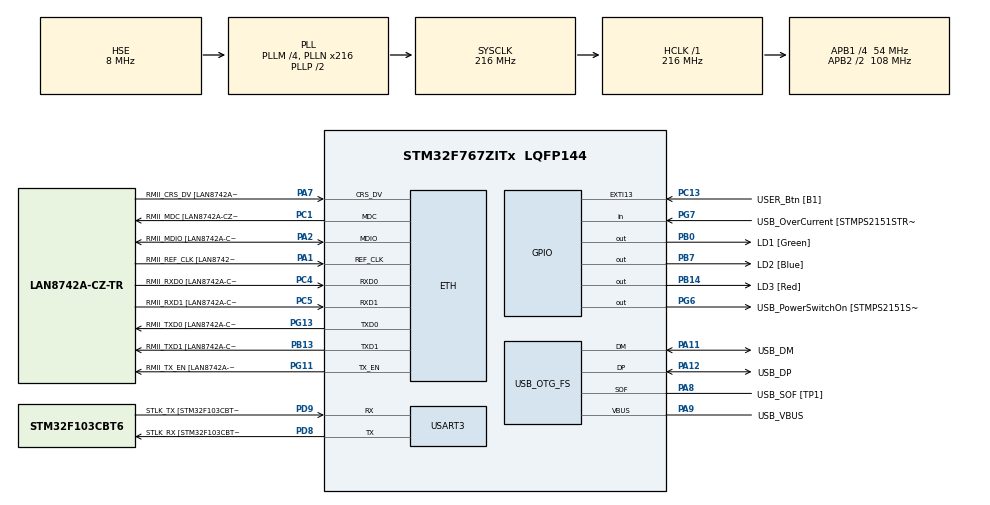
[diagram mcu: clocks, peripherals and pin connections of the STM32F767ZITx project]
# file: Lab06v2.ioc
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ETH.MediaInterface=HAL_ETH_RMII_MODE
ETH.PHY_Name=LAN8742A_PHY_ADDRESS
ETH.PHY_Value=0
ETH.PhyAddress=0
Mcu.Family=STM32F7
Mcu.Name=STM32F767ZITx
Mcu.Package=LQFP144
NVIC.PriorityGroup=NVIC_PRIORITYGROUP_4
NVIC.TIM1_UP_TIM10_IRQn=true\:1\:0\:true\:false\:true\:true\:true\:true
NVIC.TIM2_IRQn=true\:2\:0\:true\:false\:true\:true\:true\:true
PA1.GPIO_Label=RMII_REF_CLK [LAN8742A-CZ-TR_REFCLK0]
PA1.Mode=RMII
PA1.Signal=ETH_REF_CLK
PA10.GPIO_Label=USB_ID
PA10.Signal=USB_OTG_FS_ID
PA11.GPIO_Label=USB_DM
PA11.Mode=Device_Only
PA11.Signal=USB_OTG_FS_DM
PA12.GPIO_Label=USB_DP
PA12.Mode=Device_Only
PA12.Signal=USB_OTG_FS_DP
PA13.GPIO_Label=TMS
PA13.Mode=Serial_Wire
PA13.Signal=SYS_JTMS-SWDIO
PA14.GPIO_Label=TCK
PA14.Mode=Serial_Wire
PA14.Signal=SYS_JTCK-SWCLK
PA2.GPIO_Label=RMII_MDIO [LAN8742A-CZ-TR_MDIO]
PA2.Mode=RMII
PA2.Signal=ETH_MDIO
PA7.GPIO_Label=RMII_CRS_DV [LAN8742A-CZ-TR_CRS_DV]
PA7.Mode=RMII
PA7.Signal=ETH_CRS_DV
PA8.GPIO_Label=USB_SOF [TP1]
PA8.Mode=Activate_SOF_FS
PA8.Signal=USB_OTG_FS_SOF
PA9.GPIO_Label=USB_VBUS
PA9.Mode=Activate_VBUS
PA9.Signal=USB_OTG_FS_VBUS
PB0.GPIO_Label=LD1 [Green]
PB0.Signal=GPIO_Output
PB13.GPIO_Label=RMII_TXD1 [LAN8742A-CZ-TR_TXD1]
PB13.Mode=RMII
PB13.Signal=ETH_TXD1
PB14.GPIO_Label=LD3 [Red]
PB14.Signal=GPIO_Output
PB3.GPIO_Label=SWO
PB3.Signal=SYS_JTDO-SWO
PB7.GPIO_Label=LD2 [Blue]
PB7.Signal=GPIO_Output
PC1.GPIO_Label=RMII_MDC [LAN8742A-CZ-TR_MDC]
PC1.Mode=RMII
PC1.Signal=ETH_MDC
PC13.GPIO_Label=USER_Btn [B1]
PC13.Signal=GPXTI13
PC14/OSC32_IN.Mode=LSE-External-Oscillator
PC14/OSC32_IN.Signal=RCC_OSC32_IN
PC15/OSC32_OUT.Mode=LSE-External-Oscillator
PC15/OSC32_OUT.Signal=RCC_OSC32_OUT
PC4.GPIO_Label=RMII_RXD0 [LAN8742A-CZ-TR_RXD0]
PC4.Mode=RMII
PC4.Signal=ETH_RXD0
PC5.GPIO_Label=RMII_RXD1 [LAN8742A-CZ-TR_RXD1]
PC5.Mode=RMII
PC5.Signal=ETH_RXD1
PD8.GPIO_Label=STLK_RX [STM32F103CBT6_PA3]
PD8.Mode=Asynchronous
PD8.Signal=USART3_TX
PD9.GPIO_Label=STLK_TX [STM32F103CBT6_PA2]
PD9.Mode=Asynchronous
PD9.Signal=USART3_RX
PG11.GPIO_Label=RMII_TX_EN [LAN8742A-CZ-TR_TXEN]
PG11.Mode=RMII
PG11.Signal=ETH_TX_EN
PG13.GPIO_Label=RMII_TXD0 [LAN8742A-CZ-TR_TXD0]
PG13.Mode=RMII
PG13.Signal=ETH_TXD0
PG6.GPIO_Label=USB_PowerSwitchOn [STMPS2151STR_EN]
PG6.Signal=GPIO_Output
PG7.GPIO_Label=USB_OverCurrent [STMPS2151STR_FAULT]
PG7.Signal=GPIO_Input
PH0/OSC_IN.GPIO_Label=MCO [STM32F103CBT6_PA8]
PH0/OSC_IN.Mode=HSE-External-Clock-Source
PH0/OSC_IN.Signal=RCC_OSC_IN
PH1/OSC_OUT.Mode=HSE-External-Clock-Source
PH1/OSC_OUT.Signal=RCC_OSC_OUT
ProjectManager.HeapSize=0x200
ProjectManager.StackSize=0x400
ProjectManager.TargetToolchain=STM32CubeIDE
RCC.48MHZClocksFreq_Value=24000000
RCC.AHBFreq_Value=216000000
RCC.APB1CLKDivider=RCC_HCLK_DIV4
RCC.APB1Freq_Value=54000000
RCC.APB1TimFreq_Value=108000000
RCC.APB2CLKDivider=RCC_HCLK_DIV2
RCC.APB2Freq_Value=108000000
RCC.APB2TimFreq_Value=216000000
RCC.CortexFreq_Value=216000000
RCC.HCLKFreq_Value=216000000
RCC.HSE_VALUE=8000000
RCC.HSI_VALUE=16000000
RCC.PLLM=4
RCC.PLLMUL=RCC_PLL_MUL9
RCC.PLLN=216
RCC.PLLQ=9
RCC.PRESCALERUSB=RCC_USBCLKSOURCE_PLL_DIV1_5
RCC.SYSCLKFreq_VALUE=216000000
RCC.SYSCLKSource=RCC_SYSCLKSOURCE_PLLCLK
RCC.SYSCLKSourceVirtual=RCC_SYSCLKSOURCE_PLLCLK
RCC.USBFreq_Value=48000000
RCC.VCOOutputFreq_Value=432000000
TIM1.Period=1000-1
TIM1.Prescaler=216-1
TIM2.Period=1000-1
TIM2.Prescaler=43200-1
USART3.VirtualMode-Asynchronous=VM_ASYNC
USB_OTG_FS.VirtualMode=Device_Only
VP_TIM1_VS_ClockSourceINT.Mode=Internal
VP_TIM2_VS_ClockSourceINT.Mode=Internal
board=NUCLEO-F767ZI

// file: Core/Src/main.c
/* USER CODE BEGIN Header */
/**
  ******************************************************************************
  * @file           : main.c
  * @brief          : Main program body
  ******************************************************************************
  * @attention
  *
  * Copyright (c) 2023 STMicroelectronics.
  * All rights reserved.
  *
  * This software is licensed under terms that can be found in the LICENSE file
  * in the root directory of this software component.
  * If no LICENSE file comes with this software, it is provided AS-IS.
  *
  ******************************************************************************
  */
/* USER CODE END Header */
#include "main.h"
#include "eth.h"
#include "tim.h"
#include "usart.h"
#include "usb_otg.h"
#include "gpio.h"

/* USER CODE BEGIN PTD */
uint32_t count;
uint32_t counts;

char clockDisplay[10];
uint32_t totalSeconds;
uint32_t minutes;
uint32_t seconds;
char deci[10];

void clock(uint32_t count) {
	totalSeconds = count / 1000;
	minutes = totalSeconds / 60;
	seconds = totalSeconds % 60;

	sprintf(clockDisplay, "%02d:%02d", minutes, seconds);

	while(__HAL_UART_GET_FLAG(&huart3,UART_FLAG_TC)==RESET){}
	HAL_UART_Transmit(&huart3,(uint8_t*) clockDisplay, strlen(clockDisplay),1000);
	HAL_UART_Transmit(&huart3,(uint8_t*)"\r", 1,1000);

}

/* USER CODE END PTD */

void SystemClock_Config(void);

int main(void)
{

  /* MCU Configuration--------------------------------------------------------*/

  /* Reset of all peripherals, Initializes the Flash interface and the Systick. */
  HAL_Init();

  /* Configure the system clock */
  SystemClock_Config();

  /* Initialize all configured peripherals */
  MX_GPIO_Init();
  MX_ETH_Init();
  MX_USART3_UART_Init();
  MX_USB_OTG_FS_PCD_Init();
  MX_TIM1_Init();
  MX_TIM2_Init();

  /* Infinite loop */
  /* USER CODE BEGIN WHILE */
	HAL_TIM_Base_Start_IT(&htim1);
	HAL_TIM_Base_Start_IT(&htim2);
  while (1)
  {
    /* USER CODE END WHILE */

  }
}

void SystemClock_Config(void)
{
  RCC_OscInitTypeDef RCC_OscInitStruct = {0};
  RCC_ClkInitTypeDef RCC_ClkInitStruct = {0};

  /** Configure LSE Drive Capability
  */
  HAL_PWR_EnableBkUpAccess();

  /** Configure the main internal regulator output voltage
  */
  __HAL_RCC_PWR_CLK_ENABLE();
  __HAL_PWR_VOLTAGESCALING_CONFIG(PWR_REGULATOR_VOLTAGE_SCALE1);

  /** Initializes the RCC Oscillators according to the specified parameters
  * in the RCC_OscInitTypeDef structure.
  */
  RCC_OscInitStruct.OscillatorType = RCC_OSCILLATORTYPE_HSE;
  RCC_OscInitStruct.HSEState = RCC_HSE_BYPASS;
  RCC_OscInitStruct.PLL.PLLState = RCC_PLL_ON;
  RCC_OscInitStruct.PLL.PLLSource = RCC_PLLSOURCE_HSE;
  RCC_OscInitStruct.PLL.PLLM = 4;
  RCC_OscInitStruct.PLL.PLLN = 216;
  RCC_OscInitStruct.PLL.PLLP = RCC_PLLP_DIV2;
  RCC_OscInitStruct.PLL.PLLQ = 9;
  RCC_OscInitStruct.PLL.PLLR = 2;
  if (HAL_RCC_OscConfig(&RCC_OscInitStruct) != HAL_OK)
  {
    Error_Handler();
  }

  /** Activate the Over-Drive mode
  */
  if (HAL_PWREx_EnableOverDrive() != HAL_OK)
  {
    Error_Handler();
  }

  /** Initializes the CPU, AHB and APB buses clocks
  */
  RCC_ClkInitStruct.ClockType = RCC_CLOCKTYPE_HCLK|RCC_CLOCKTYPE_SYSCLK
                              |RCC_CLOCKTYPE_PCLK1|RCC_CLOCKTYPE_PCLK2;
  RCC_ClkInitStruct.SYSCLKSource = RCC_SYSCLKSOURCE_PLLCLK;
  RCC_ClkInitStruct.AHBCLKDivider = RCC_SYSCLK_DIV1;
  RCC_ClkInitStruct.APB1CLKDivider = RCC_HCLK_DIV4;
  RCC_ClkInitStruct.APB2CLKDivider = RCC_HCLK_DIV2;

  if (HAL_RCC_ClockConfig(&RCC_ClkInitStruct, FLASH_LATENCY_7) != HAL_OK)
  {
    Error_Handler();
  }
}

void Error_Handler(void)
{
  __disable_irq();
  while (1)
  {
  }
}
